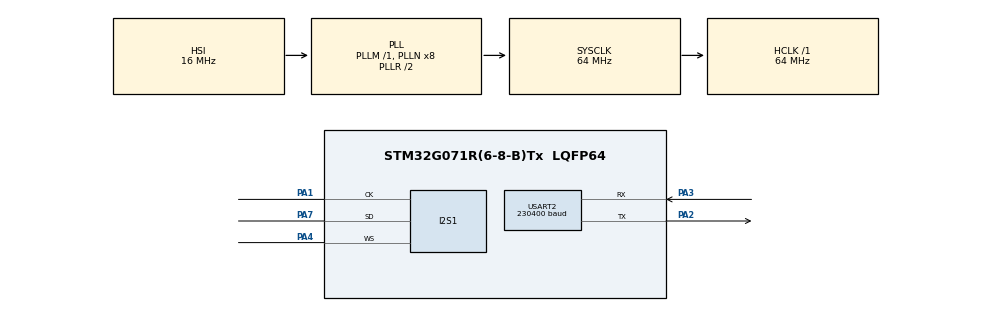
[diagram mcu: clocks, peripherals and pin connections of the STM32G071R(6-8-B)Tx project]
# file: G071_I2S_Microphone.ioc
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Dma.Request0=USART2_TX
Dma.Request1=SPI1_RX
Dma.SPI1_RX.1.Direction=DMA_PERIPH_TO_MEMORY
Dma.SPI1_RX.1.EventEnable=DISABLE
Dma.SPI1_RX.1.Instance=DMA1_Channel1
Dma.SPI1_RX.1.MemDataAlignment=DMA_MDATAALIGN_HALFWORD
Dma.SPI1_RX.1.MemInc=DMA_MINC_ENABLE
Dma.SPI1_RX.1.Mode=DMA_CIRCULAR
Dma.SPI1_RX.1.PeriphDataAlignment=DMA_PDATAALIGN_HALFWORD
Dma.SPI1_RX.1.PeriphInc=DMA_PINC_DISABLE
Dma.SPI1_RX.1.Polarity=HAL_DMAMUX_REQ_GEN_RISING
Dma.SPI1_RX.1.Priority=DMA_PRIORITY_HIGH
Dma.SPI1_RX.1.RequestNumber=1
Dma.SPI1_RX.1.SignalID=NONE
Dma.SPI1_RX.1.SyncEnable=DISABLE
Dma.SPI1_RX.1.SyncPolarity=HAL_DMAMUX_SYNC_NO_EVENT
Dma.SPI1_RX.1.SyncRequestNumber=1
Dma.SPI1_RX.1.SyncSignalID=NONE
Dma.USART2_TX.0.Direction=DMA_MEMORY_TO_PERIPH
Dma.USART2_TX.0.EventEnable=DISABLE
Dma.USART2_TX.0.Instance=DMA1_Channel7
Dma.USART2_TX.0.MemDataAlignment=DMA_MDATAALIGN_BYTE
Dma.USART2_TX.0.MemInc=DMA_MINC_ENABLE
Dma.USART2_TX.0.Mode=DMA_NORMAL
Dma.USART2_TX.0.PeriphDataAlignment=DMA_PDATAALIGN_BYTE
Dma.USART2_TX.0.PeriphInc=DMA_PINC_DISABLE
Dma.USART2_TX.0.Polarity=HAL_DMAMUX_REQ_GEN_RISING
Dma.USART2_TX.0.Priority=DMA_PRIORITY_LOW
Dma.USART2_TX.0.RequestNumber=1
Dma.USART2_TX.0.SignalID=NONE
Dma.USART2_TX.0.SyncEnable=DISABLE
Dma.USART2_TX.0.SyncPolarity=HAL_DMAMUX_SYNC_NO_EVENT
Dma.USART2_TX.0.SyncRequestNumber=1
Dma.USART2_TX.0.SyncSignalID=NONE
I2S1.CPOL=I2S_CPOL_HIGH
I2S1.ErrorAudioFreq=0.0 %
I2S1.FullDuplexMode=I2S_FULLDUPLEXMODE_DISABLE
I2S1.Instance=SPI$Index
I2S1.Mode=I2S_MODE_MASTER_RX
I2S1.RealAudioFreq=8.0 KHz
I2S1.VirtualMode=I2S_MODE_MASTER
Mcu.Family=STM32G0
Mcu.Name=STM32G071R(6-8-B)Tx
Mcu.Package=LQFP64
NVIC.DMA1_Ch4_7_DMAMUX1_OVR_IRQn=true\:0\:0\:false\:false\:true\:false\:true\:true
NVIC.DMA1_Channel1_IRQn=true\:0\:0\:false\:false\:true\:false\:true\:true
NVIC.SPI1_IRQn=true\:0\:0\:false\:false\:true\:true\:true\:true
NVIC.USART2_IRQn=true\:0\:0\:false\:false\:true\:true\:true\:true
PA1.GPIO_Speed=GPIO_SPEED_FREQ_VERY_HIGH
PA1.Mode=Half_Duplex_Master
PA1.Signal=I2S1_CK
PA13.Mode=Serial_Wire
PA13.Signal=SYS_SWDIO
PA14-BOOT0.Mode=Serial_Wire
PA14-BOOT0.Signal=SYS_SWCLK
PA2.Mode=Asynchronous
PA2.Signal=USART2_TX
PA3.Mode=Asynchronous
PA3.Signal=USART2_RX
PA4.Mode=Half_Duplex_Master
PA4.Signal=I2S1_WS
PA7.GPIO_PuPd=GPIO_PULLDOWN
PA7.GPIO_Speed=GPIO_SPEED_FREQ_VERY_HIGH
PA7.Mode=Half_Duplex_Master
PA7.Signal=I2S1_SD
PF0-OSC_IN\ (PF0).Mode=HSE-External-Clock-Source
PF0-OSC_IN\ (PF0).Signal=RCC_OSC_IN
ProjectManager.HeapSize=0x200
ProjectManager.StackSize=0x400
ProjectManager.TargetToolchain=MDK-ARM V5.32
RCC.ADCFreq_Value=64000000
RCC.AHBFreq_Value=64000000
RCC.CortexFreq_Value=64000000
RCC.EXTERNAL_CLOCK_VALUE=48000
RCC.HCLKFreq_Value=64000000
RCC.HSE_VALUE=8000000
RCC.HSI_VALUE=16000000
RCC.LSE_VALUE=32768
RCC.SYSCLKFreq_VALUE=64000000
RCC.SYSCLKSource=RCC_SYSCLKSOURCE_PLLCLK
RCC.VCOOutputFreq_Value=128000000
USART2.BaudRate=230400
USART2.VirtualMode-Asynchronous=VM_ASYNC
board=custom

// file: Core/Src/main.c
/* USER CODE BEGIN Header */
/**
  ******************************************************************************
  * @file           : main.c
  * @brief          : Main program body
  ******************************************************************************
  * @attention
  *
  * Copyright (c) 2023 STMicroelectronics.
  * All rights reserved.
  *
  * This software is licensed under terms that can be found in the LICENSE file
  * in the root directory of this software component.
  * If no LICENSE file comes with this software, it is provided AS-IS.
  *
  ******************************************************************************
  */
/* USER CODE END Header */
#include "main.h"
#include "dma.h"
#include "i2s.h"
#include "usart.h"
#include "gpio.h"

/* USER CODE BEGIN Includes */
#include <stdio.h>
#include <string.h>
#include <stdbool.h>
/* USER CODE END Includes */

/* USER CODE BEGIN PTD */
typedef volatile int16_t sample_t;
/* USER CODE END PTD */

/* USER CODE BEGIN PV */
#define PC_UART     huart2
#define MIC_SAMPLE_PER_FRAME	16

#define DMA_MIC_BUFFER_IN_SIZE (MIC_SAMPLE_PER_FRAME * 4)

/*static*/ sample_t dma_mic_buffer[DMA_MIC_BUFFER_IN_SIZE];//буфер дма получения с микрофона
static sample_t out_buffer[MIC_SAMPLE_PER_FRAME];//буфер, на отправку в уарт
static volatile int dma_i2s_recive = 0;//флаг дма микрофона
static volatile int dma_uart_transmit = 1; //флаг

bool _running;// флаг
/* USER CODE END PV */

void SystemClock_Config(void);
/* USER CODE BEGIN PFP */
void processing_ready_buffer(sample_t* buff, size_t sz);
void transmit_frame_to_uart(sample_t* buff, size_t sz);
int8_t microphone_start_stop (bool);
int8_t button;
/* USER CODE END PFP */

int main(void)
{

  /* MCU Configuration--------------------------------------------------------*/

  /* Reset of all peripherals, Initializes the Flash interface and the Systick. */
  HAL_Init();

  /* Configure the system clock */
  SystemClock_Config();

  /* Initialize all configured peripherals */
  MX_GPIO_Init();
  MX_DMA_Init();
  MX_USART2_UART_Init();
  MX_I2S1_Init();

  /* Infinite loop */
  /* USER CODE BEGIN WHILE */
  microphone_start_stop (true);
  while (1)
  {
	button = HAL_GPIO_ReadPin(GPIOC, GPIO_PIN_13);
	if (button == 0)
	{
		if(dma_i2s_recive == 1)
		{
			dma_i2s_recive = 0;
			processing_ready_buffer(&dma_mic_buffer[0], DMA_MIC_BUFFER_IN_SIZE/2);
		}
		else if (dma_i2s_recive == 2)
		{
			dma_i2s_recive = 0;
			processing_ready_buffer(&dma_mic_buffer[DMA_MIC_BUFFER_IN_SIZE/2], DMA_MIC_BUFFER_IN_SIZE/2);

		}
	 }
    /* USER CODE END WHILE */

  }
}

void SystemClock_Config(void)
{
  RCC_OscInitTypeDef RCC_OscInitStruct = {0};
  RCC_ClkInitTypeDef RCC_ClkInitStruct = {0};

  /** Configure the main internal regulator output voltage
  */
  HAL_PWREx_ControlVoltageScaling(PWR_REGULATOR_VOLTAGE_SCALE1);

  /** Initializes the RCC Oscillators according to the specified parameters
  * in the RCC_OscInitTypeDef structure.
  */
  RCC_OscInitStruct.OscillatorType = RCC_OSCILLATORTYPE_HSI;
  RCC_OscInitStruct.HSIState = RCC_HSI_ON;
  RCC_OscInitStruct.HSIDiv = RCC_HSI_DIV1;
  RCC_OscInitStruct.HSICalibrationValue = RCC_HSICALIBRATION_DEFAULT;
  RCC_OscInitStruct.PLL.PLLState = RCC_PLL_ON;
  RCC_OscInitStruct.PLL.PLLSource = RCC_PLLSOURCE_HSI;
  RCC_OscInitStruct.PLL.PLLM = RCC_PLLM_DIV1;
  RCC_OscInitStruct.PLL.PLLN = 8;
  RCC_OscInitStruct.PLL.PLLP = RCC_PLLP_DIV2;
  RCC_OscInitStruct.PLL.PLLQ = RCC_PLLQ_DIV2;
  RCC_OscInitStruct.PLL.PLLR = RCC_PLLR_DIV2;
  if (HAL_RCC_OscConfig(&RCC_OscInitStruct) != HAL_OK)
  {
    Error_Handler();
  }

  /** Initializes the CPU, AHB and APB buses clocks
  */
  RCC_ClkInitStruct.ClockType = RCC_CLOCKTYPE_HCLK|RCC_CLOCKTYPE_SYSCLK
                              |RCC_CLOCKTYPE_PCLK1;
  RCC_ClkInitStruct.SYSCLKSource = RCC_SYSCLKSOURCE_PLLCLK;
  RCC_ClkInitStruct.AHBCLKDivider = RCC_SYSCLK_DIV1;
  RCC_ClkInitStruct.APB1CLKDivider = RCC_HCLK_DIV1;

  if (HAL_RCC_ClockConfig(&RCC_ClkInitStruct, FLASH_LATENCY_2) != HAL_OK)
  {
    Error_Handler();
  }
}

/* USER CODE BEGIN 4 */

/**
 * Processing received I2S buffer
 */
sample_t max_sample;
void processing_ready_buffer(sample_t* buff, size_t sz){

    /* Auto select left/right */
    if(*buff == 0 && *(buff+2) == 0)
    {
        buff++;
    }
    /* */

	for (size_t i=0; i<sizeof(out_buffer)/sizeof(sample_t); i++)
	{
		out_buffer [i] = buff [i*2];
	}
    transmit_frame_to_uart(out_buffer, MIC_SAMPLE_PER_FRAME);

}

/**
 * Processing received I2S buffer
 */
void transmit_frame_to_uart(sample_t* buff, size_t sz){
    while(dma_uart_transmit == 0){}//;ждем пока все посылки переданы по DMA

    dma_uart_transmit = 0;
    HAL_UART_Transmit_DMA(&PC_UART, (uint8_t*)buff, sz*sizeof(sample_t));
}

/**
 * Start/Stop the I2S DMA transfer
 */
int8_t microphone_start_stop(bool enable) {

	HAL_StatusTypeDef status;
	if (enable == true)
	{
		status = HAL_I2S_Receive_DMA(&hi2s1, (uint16_t *)dma_mic_buffer, DMA_MIC_BUFFER_IN_SIZE);
		if (status == HAL_OK)
		{
			_running = true;
		}
	}
	else
	{
		  status = HAL_I2S_DMAStop(&hi2s1);
		  if (status == HAL_OK)
		 {
			_running = false;
		 }
	}
	return status;
}

void HAL_I2S_RxHalfCpltCallback(I2S_HandleTypeDef *hi2s) {
	dma_i2s_recive = 1;
}

void HAL_I2S_RxCpltCallback(I2S_HandleTypeDef *hi2s) {
    dma_i2s_recive = 2;
}

void HAL_UART_TxCpltCallback(UART_HandleTypeDef *huart){
    if(huart == &PC_UART)
    {
        dma_uart_transmit = 1;
    }
}

/* USER CODE END 4 */

void Error_Handler(void)
{
  __disable_irq();
  while (1)
  {
  }
}
